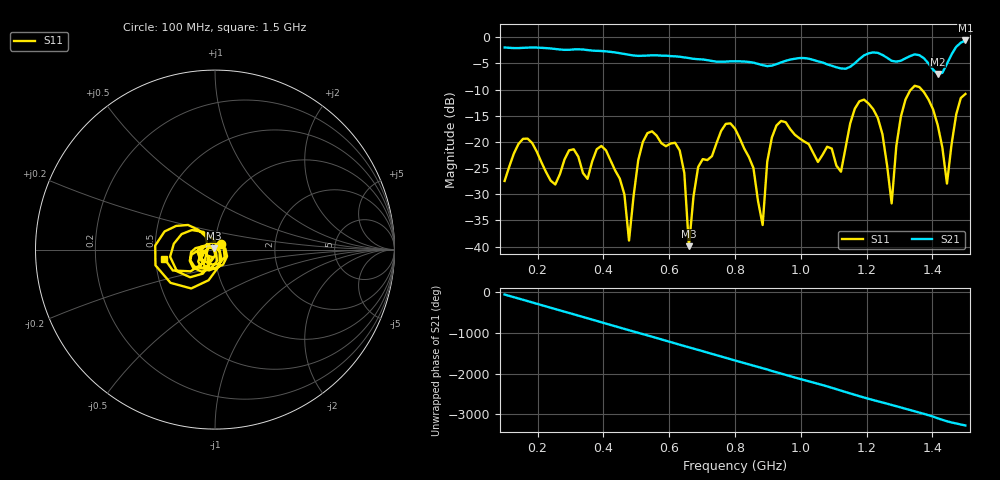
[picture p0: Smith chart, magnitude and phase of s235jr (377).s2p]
! NanoVNA-App
! Date: 2025-09-25 15:07:06
! Start: 100MHz Stop: 1,5GHz Points: 101
! S-Parameter data: F S11 S21 S12 S22
# Hz S RI R 50
!  Frequency  S11_Real  S11_Imag  S21_Real  S21_Imag  S12_Real  S12_Imag  S22_Real  S22_Imag
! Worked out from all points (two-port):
!   101 points, 100 MHz to 1.5 GHz, reference 50 ohm
!   highest |S21| = -0.63 dB at 1.5 GHz (marker M1); lowest = -7.0 dB at 1.416 GHz (marker M2)
!   |S21| within 3 dB of the highest: start of sweep to 607.7 MHz; 1.189 GHz to 1.254 GHz (65.07 MHz wide, 5.33 % of centre) (the widest 2 of 4)
!   lowest |S11| = -39.9 dB at 660 MHz (marker M3), VSWR 1.02, Z = 49.2 + j0.653 ohm
!   |S11| at or under -10 dB: start of sweep to 1.335 GHz; 1.367 GHz to end of sweep
!   S12 and S22 are empty: the file has one direction only
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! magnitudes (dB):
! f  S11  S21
! 100 MHz  -27.5  -2.0
! 156 MHz  -19.4  -2.0
! 338 MHz  -26.0  -2.4
! 408 MHz  -21.6  -2.7
! 478 MHz  -38.9  -3.4
! 520 MHz  -20.0  -3.5
! 576 MHz  -20.2  -3.5
! 632 MHz  -21.6  -3.7
! 660 MHz  -39.9  -4.0
! 688 MHz  -24.8  -4.2
! 800 MHz  -17.5  -4.6
! 884 MHz  -35.9  -5.4
! 926 MHz  -16.9  -5.2
! 1.038 GHz  -22.1  -4.3
! 1.122 GHz  -25.7  -6.0
! 1.192 GHz  -11.9  -3.5
! 1.248 GHz  -18.6  -3.4
! 1.276 GHz  -31.8  -4.5
! 1.332 GHz  -10.2  -3.6
! 1.416 GHz  -16.8  -7.0
! 1.444 GHz  -28.0  -5.1
! 1.5 GHz  -10.9  -0.6
